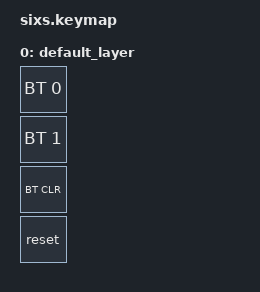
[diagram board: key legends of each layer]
#include <behaviors.dtsi>
#include <dt-bindings/zmk/keys.h>

/ {
    keymap {
        compatible = "zmk,keymap";

        default_layer {
            bindings = <
                &bt BT_SEL 0
                &bt BT_SEL 1
                &bt BT_CLR
                &reset
            >;
        };
    };
};
